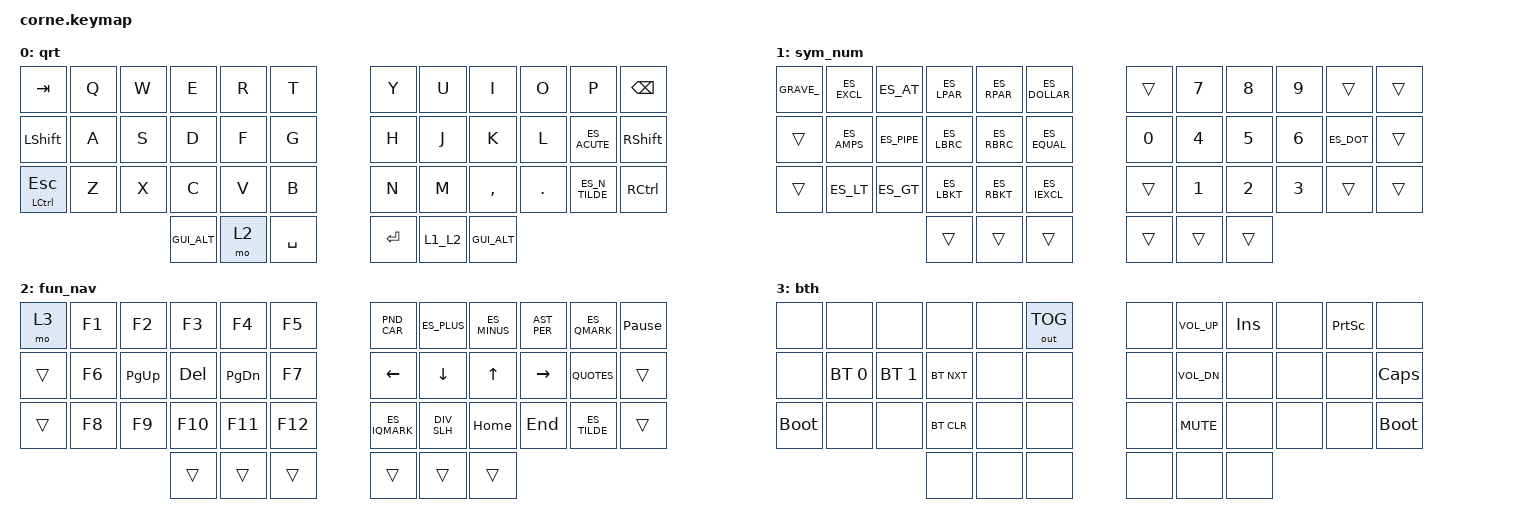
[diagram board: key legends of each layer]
/*
 * Copyright (c) 2020 The ZMK Contributors
 *
 * SPDX-License-Identifier: MIT
 */
// #define ZMK_POINTING_DEFAULT_MOVE_VAL 1000
// #define ZMK_POINTING_DEFAULT_SCRL_VAL 20

#include "keys_es_latin_american.h"
#include <behaviors.dtsi>
#include <dt-bindings/zmk/bt.h>
#include <dt-bindings/zmk/keys.h>
#include <dt-bindings/zmk/outputs.h>

&lt { quick-tap-ms = <150>; };

/ {
    combos { compatible = "zmk,combos"; };

    macros {
        GRAVE_: GRAVE_ {
            compatible = "zmk,behavior-macro";
            #binding-cells = <0>;
            bindings = <&kp ES_GRAVE &kp SPACE>;
            label = "GRAVE_";
        };

        CARET_: CARET_ {
            compatible = "zmk,behavior-macro";
            #binding-cells = <0>;
            bindings = <&kp ES_CARET &kp SPACE>;
            label = "CARET_";
        };

        TILDE_: TILDE_ {
            compatible = "zmk,behavior-macro";
            #binding-cells = <0>;
            bindings = <&kp ES_TILDE &kp SPACE>;
            label = "TILDE_";
        };
    };

    behaviors {
        DIV_SLH: DIV_SLH {
            compatible = "zmk,behavior-mod-morph";
            label = "DIV_SLH";
            bindings = <&kp ES_SLASH>, <&kp ES_BSLH>;

            #binding-cells = <0>;
            mods = <(MOD_LSFT|MOD_RSFT)>;
        };

        HHT: HHT {
            compatible = "zmk,behavior-hold-tap";
            label = "HHT";
            bindings = <&kp>, <&kp>;

            #binding-cells = <2>;
            tapping-term-ms = <125>;
            flavor = "hold-preferred";
            hold-while-undecided;
            hold-trigger-key-positions = <0 1 2 3 4 5 6 7 8 9 10 11 12 13 14 15 16 17 18 19 20 21 22 23 24 25 26 27 28 29 30 31 32 33 34 35 36 37 38 39 40 41>;
        };

        QUOTES: QUOTES {
            compatible = "zmk,behavior-mod-morph";
            label = "QUOTES";
            bindings = <&kp ES_DOUBLE_QUOTES>, <&kp ES_SINGLE_QUOTE>;

            #binding-cells = <0>;
            mods = <(MOD_LSFT|MOD_RSFT)>;
        };

        GUI_ALT: GUI_ALT {
            compatible = "zmk,behavior-tap-dance";
            label = "GUI_ALT";
            #binding-cells = <0>;
            bindings = <&kp LWIN>, <&kp LALT>;

            tapping-term-ms = <250>;
        };

        TIL_CAR: TIL_CAR {
            compatible = "zmk,behavior-mod-morph";
            label = "TIL_CAR";
            bindings = <&kp ES_TILDE>, <&CARET_>;

            #binding-cells = <0>;
            mods = <(MOD_LSFT|MOD_RSFT)>;
        };

        POU_PER: POU_PER {
            compatible = "zmk,behavior-mod-morph";
            label = "POU_PER";
            bindings = <&kp ES_POUND>, <&kp ES_PERCENT>;

            #binding-cells = <0>;
            mods = <(MOD_LSFT|MOD_RSFT)>;
        };

        PND_CAR: PND_CAR {
            compatible = "zmk,behavior-mod-morph";
            label = "PND_CAR";
            bindings = <&kp ES_POUND>, <&CARET_>;

            #binding-cells = <0>;
            mods = <(MOD_LSFT|MOD_RSFT)>;
        };

        AST_PER: AST_PER {
            compatible = "zmk,behavior-mod-morph";
            label = "AST_PER";
            bindings = <&kp ES_ASTRK>, <&kp ES_PERCENT>;

            #binding-cells = <0>;
            mods = <(MOD_LSFT|MOD_RSFT)>;
        };

        ADD_DOL: ADD_DOL {
            compatible = "zmk,behavior-mod-morph";
            label = "ADD_DOL";
            bindings = <&kp ES_PLUS>, <&kp ES_DOLLAR>;

            #binding-cells = <0>;
            mods = <(MOD_LSFT|MOD_RSFT)>;
        };

        L1_L2: L1_L2 {
            compatible = "zmk,behavior-tap-dance";
            label = "L1_L2";
            #binding-cells = <0>;
            bindings = <&mo 1>, <&mo 2>;
        };
    };

    keymap {
        compatible = "zmk,keymap";

        qrt {
            // -----------------------------------------------------------------------------------------
            // |  TAB |  Q  |  W  |  E  |  R  |  T  |   |  Y  |  U   |  I  |  O  |  P  | BSPC |
            // | CTRL |  A  |  S  |  D  |  F  |  G  |   |  H  |  J   |  K  |  L  |  ;  |  '   |
            // | SHFT |  Z  |  X  |  C  |  V  |  B  |   |  N  |  M   |  ,  |  .  |  /  | ESC  |
            //                    | GUI | LWR | SPC |   | ENT | RSE  | ALT |

            bindings = <
&kp TAB                   &kp Q  &kp W  &kp E     &kp R  &kp T        &kp Y      &kp U   &kp I      &kp O       &kp P           &kp BACKSPACE
&kp LSHIFT                &kp A  &kp S  &kp D     &kp F  &kp G        &kp H      &kp J   &kp K      &kp L       &kp ES_ACUTE    &kp RSHIFT
&HHT LEFT_CONTROL ESCAPE  &kp Z  &kp X  &kp C     &kp V  &kp B        &kp N      &kp M   &kp COMMA  &kp PERIOD  &kp ES_N_TILDE  &kp RCTRL
                                        &GUI_ALT  &mo 2  &kp SPACE    &kp ENTER  &L1_L2  &GUI_ALT
            >;
        };

        sym_num {
            bindings = <
&GRAVE_  &kp ES_EXCL  &kp ES_AT    &kp ES_LPAR  &kp ES_RPAR  &kp ES_DOLLAR    &trans  &kp N7  &kp N8  &kp N9  &trans      &trans
&trans   &kp ES_AMPS  &kp ES_PIPE  &kp ES_LBRC  &kp ES_RBRC  &kp ES_EQUAL     &kp N0  &kp N4  &kp N5  &kp N6  &kp ES_DOT  &trans
&trans   &kp ES_LT    &kp ES_GT    &kp ES_LBKT  &kp ES_RBKT  &kp ES_IEXCL     &trans  &kp N1  &kp N2  &kp N3  &trans      &trans
                                   &trans       &trans       &trans           &trans  &trans  &trans
            >;
        };

        fun_nav {
            bindings = <
&mo 3   &kp F1  &kp F2     &kp F3   &kp F4     &kp F5     &PND_CAR       &kp ES_PLUS  &kp ES_MINUS  &AST_PER   &kp ES_QMARK  &kp PAUSE_BREAK
&trans  &kp F6  &kp PG_UP  &kp DEL  &kp PG_DN  &kp F7     &kp LEFT       &kp DOWN     &kp UP        &kp RIGHT  &QUOTES       &trans
&trans  &kp F8  &kp F9     &kp F10  &kp F11    &kp F12    &kp ES_IQMARK  &DIV_SLH     &kp HOME      &kp END    &kp ES_TILDE  &trans
                           &trans   &trans     &trans     &trans         &trans       &trans
            >;
        };

        bth {
            bindings = <
&none        &none         &none         &none       &none  &out OUT_TOG    &none  &kp C_VOL_UP  &kp INSERT  &none  &kp PRINTSCREEN  &none
&none        &bt BT_SEL 0  &bt BT_SEL 1  &bt BT_NXT  &none  &none           &none  &kp C_VOL_DN  &none       &none  &none            &kp CLCK
&bootloader  &none         &none         &bt BT_CLR  &none  &none           &none  &kp C_MUTE    &none       &none  &none            &bootloader
                                         &none       &none  &none           &none  &none         &none
            >;
        };
    };

    conditional_layers { compatible = "zmk,conditional-layers"; };
};
